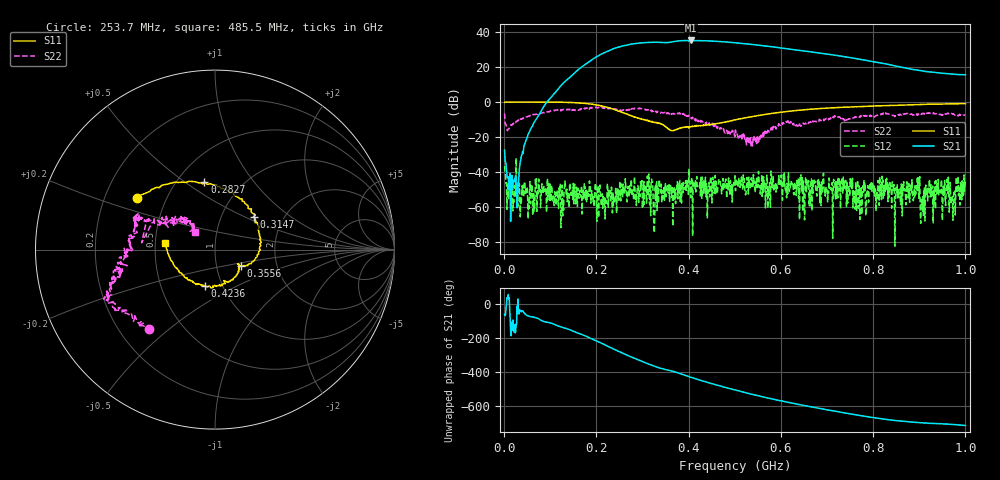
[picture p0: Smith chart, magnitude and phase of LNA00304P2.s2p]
! Created with skrf 1.9.0 (http://scikit-rf.org).
# Hz S RI R 50.0
!freq ReS11 ImS11 ReS21 ImS21 ReS12 ImS12 ReS22 ImS22
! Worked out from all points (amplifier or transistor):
!   1001 points, 1 MHz to 1 GHz, reference 50 ohm
!   highest |S21| = 35.2 dB at 404.6 MHz (marker M1)
!   |S21| within 3 dB of that: 259.9 MHz to 561.1 MHz (301.1 MHz wide, 73.4 % of centre)
!   unconditionally stable (mu >= 1): 3.162 MHz to 74.8 MHz; 298.7 MHz to 400.6 MHz; 400.6 MHz to end of sweep (the widest 3 of 32)
!   at 166.8 MHz: K = 2.56, MAG = 30.1 dB, |S12| = -54.4 dB
!   at 500.5 MHz: K = 1.33, MAG = 34.6 dB, |S12| = -42.1 dB
!   at 1 GHz: K = 2.70, MAG = 23.2 dB, |S12| = -45.1 dB
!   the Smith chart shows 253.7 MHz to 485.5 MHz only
!   S11 on the Smith chart (normalised r, x): 253.7 MHz: 0.34, +0.27; 282.7 MHz: 0.68, +0.60; 314.7 MHz: 1.41, +0.57; 355.6 MHz: 1.31, -0.24; 423.6 MHz: 0.83, -0.35; 485.5 MHz: 0.56, +0.04
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1000000  0.976 0.00954  0.0207 -0.0362  -0.0149 0.00116  0.3591 0.3072
1.07893e8  0.5215 -0.8492  -0.784 -1.502  0.0004 -0.00109  0.4287 -0.3911
1.67833e8  -0.2519 -0.896  -10 -0.4036  0.00342 -0.00214  0.0228 -0.6447
2.13787e8  -0.7004 -0.3009  -14.87 19.33  -0.000909 -0.00014  -0.2282 -0.6575
2.32768e8  -0.6456 0.027  -6.68 31.05  0.00368 -0.000423  -0.2606 -0.5989
2.53747e8  -0.4332 0.2898  9.34 37.63  -0.00457 0.000364  -0.3653 -0.4446
2.82718e8  -0.0589 0.3762  34.65 30.74  -0.00633 0.00374  -0.5999 -0.2994
3.14686e8  0.2148 0.1837  50.17 5.751  -0.00142 9.89e-06  -0.5582 -0.1602
3.34666e8  0.2469 0.00392  49.69 -11.1  0.00116 0.000565  -0.5228 -0.082
3.55645e8  0.1437 -0.09  44.6 -23.43  0.00183 -0.00173  -0.4729 0.063
3.75625e8  0.1359 -0.1026  40.77 -37.53  0.00121 0.00515  -0.4484 0.1584
4.04596e8  0.0473 -0.19  20.39 -53.67  0.000852 0.00164  -0.3366 0.1465
4.23577e8  -0.0542 -0.2038  4.515 -56.52  0.00216 0.00287  -0.2313 0.151
4.5055e8  -0.1824 -0.139  -16.07 -52.97  0.00129 0.000227  -0.1495 0.1712
4.85515e8  -0.2772 0.0351  -35.08 -37.41  0.00175 0.00233  -0.114 0.0993
5.005e8  -0.2842 0.1252  -40.09 -29.02  0.00713 0.0032  -0.0839 0.0622
5.39461e8  -0.2035 0.3288  -43.17 -7.136  0.00347 -0.00142  -0.0719 -0.0393
5.84416e8  -0.00472 0.4789  -35.48 11.91  -0.00147 -0.00237  -0.169 -0.0707
6.67333e8  0.3927 0.4859  -11.79 23.92  0.000732 0.000262  -0.2549 -0.0496
7.52248e8  0.6677 0.2775  4.718 17.86  0.00272 -0.00568  -0.3377 0.0151
8.34166e8  0.796 0.0147  8.815 7.819  -0.000755 0.00173  -0.4487 0.076
1e9  0.7216 -0.5355  5.942 0.8284  -0.00447 -0.00334  -0.2024 0.358
